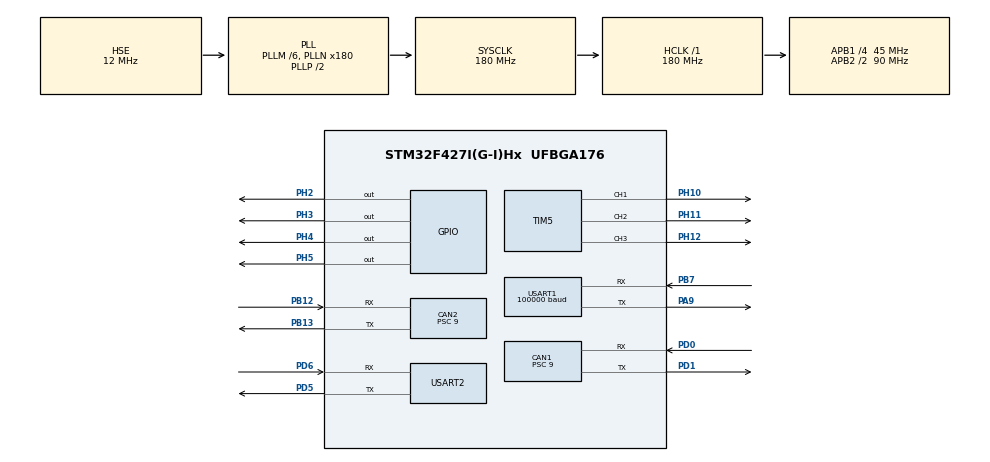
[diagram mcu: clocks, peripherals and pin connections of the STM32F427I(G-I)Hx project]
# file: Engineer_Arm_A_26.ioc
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CAN1.BS1=CAN_BS1_2TQ
CAN1.BS2=CAN_BS2_2TQ
CAN1.CalculateBaudRate=1000000
CAN1.CalculateTimeBit=1000
CAN1.CalculateTimeQuantum=200.0
CAN1.Prescaler=9
CAN2.BS1=CAN_BS1_2TQ
CAN2.BS2=CAN_BS2_2TQ
CAN2.CalculateBaudRate=1000000
CAN2.CalculateTimeBit=1000
CAN2.CalculateTimeQuantum=200.0
CAN2.Prescaler=9
Dma.Request0=USART1_RX
Dma.Request1=USART2_RX
Dma.Request2=USART2_TX
Dma.USART1_RX.0.Direction=DMA_PERIPH_TO_MEMORY
Dma.USART1_RX.0.FIFOMode=DMA_FIFOMODE_DISABLE
Dma.USART1_RX.0.Instance=DMA2_Stream2
Dma.USART1_RX.0.MemDataAlignment=DMA_MDATAALIGN_BYTE
Dma.USART1_RX.0.MemInc=DMA_MINC_ENABLE
Dma.USART1_RX.0.Mode=DMA_NORMAL
Dma.USART1_RX.0.PeriphDataAlignment=DMA_PDATAALIGN_BYTE
Dma.USART1_RX.0.PeriphInc=DMA_PINC_DISABLE
Dma.USART1_RX.0.Priority=DMA_PRIORITY_VERY_HIGH
Dma.USART2_RX.1.Direction=DMA_PERIPH_TO_MEMORY
Dma.USART2_RX.1.FIFOMode=DMA_FIFOMODE_DISABLE
Dma.USART2_RX.1.Instance=DMA1_Stream5
Dma.USART2_RX.1.MemDataAlignment=DMA_MDATAALIGN_BYTE
Dma.USART2_RX.1.MemInc=DMA_MINC_ENABLE
Dma.USART2_RX.1.Mode=DMA_NORMAL
Dma.USART2_RX.1.PeriphDataAlignment=DMA_PDATAALIGN_BYTE
Dma.USART2_RX.1.PeriphInc=DMA_PINC_DISABLE
Dma.USART2_RX.1.Priority=DMA_PRIORITY_LOW
Dma.USART2_TX.2.Direction=DMA_MEMORY_TO_PERIPH
Dma.USART2_TX.2.FIFOMode=DMA_FIFOMODE_DISABLE
Dma.USART2_TX.2.Instance=DMA1_Stream6
Dma.USART2_TX.2.MemDataAlignment=DMA_MDATAALIGN_BYTE
Dma.USART2_TX.2.MemInc=DMA_MINC_ENABLE
Dma.USART2_TX.2.Mode=DMA_NORMAL
Dma.USART2_TX.2.PeriphDataAlignment=DMA_PDATAALIGN_BYTE
Dma.USART2_TX.2.PeriphInc=DMA_PINC_DISABLE
Dma.USART2_TX.2.Priority=DMA_PRIORITY_LOW
FREERTOS.Tasks01=StartTask,0,128,ALL_Init,Default,NULL,Dynamic,NULL,NULL
Mcu.Family=STM32F4
Mcu.Name=STM32F427I(G-I)Hx
Mcu.Package=UFBGA176
NVIC.CAN1_RX0_IRQn=true\:5\:0\:false\:false\:true\:true\:true\:true\:true
NVIC.CAN1_TX_IRQn=true\:5\:0\:false\:false\:true\:true\:true\:true\:true
NVIC.CAN2_RX0_IRQn=true\:5\:0\:false\:false\:true\:true\:true\:true\:true
NVIC.CAN2_TX_IRQn=true\:5\:0\:false\:false\:true\:true\:true\:true\:true
NVIC.DMA1_Stream5_IRQn=true\:5\:0\:false\:false\:true\:true\:false\:true\:true
NVIC.DMA1_Stream6_IRQn=true\:5\:0\:false\:false\:true\:true\:false\:true\:true
NVIC.DMA2_Stream2_IRQn=true\:5\:0\:false\:false\:true\:true\:false\:true\:true
NVIC.PriorityGroup=NVIC_PRIORITYGROUP_4
NVIC.TIM1_UP_TIM10_IRQn=true\:15\:0\:false\:false\:true\:false\:false\:true\:true
NVIC.TimeBase=TIM1_UP_TIM10_IRQn
NVIC.TimeBaseIP=TIM1
NVIC.USART2_IRQn=true\:5\:0\:false\:false\:true\:true\:false\:true\:true
PA13.Mode=Serial_Wire
PA13.Signal=SYS_JTMS-SWDIO
PA14.Mode=Serial_Wire
PA14.Signal=SYS_JTCK-SWCLK
PA9.Mode=Asynchronous
PA9.Signal=USART1_TX
PB12.Mode=CAN_Activate
PB12.Signal=CAN2_RX
PB13.Mode=CAN_Activate
PB13.Signal=CAN2_TX
PB7.Mode=Asynchronous
PB7.Signal=USART1_RX
PD0.Mode=CAN_Activate
PD0.Signal=CAN1_RX
PD1.Mode=CAN_Activate
PD1.Signal=CAN1_TX
PD5.Mode=Asynchronous
PD5.Signal=USART2_TX
PD6.Mode=Asynchronous
PD6.Signal=USART2_RX
PH0/OSC_IN.Mode=HSE-External-Oscillator
PH0/OSC_IN.Signal=RCC_OSC_IN
PH1/OSC_OUT.Mode=HSE-External-Oscillator
PH1/OSC_OUT.Signal=RCC_OSC_OUT
PH10.Signal=S_TIM5_CH1
PH11.Signal=S_TIM5_CH2
PH12.Signal=S_TIM5_CH3
PH2.GPIO_PuPd=GPIO_PULLDOWN
PH2.Signal=GPIO_Output
PH3.GPIO_PuPd=GPIO_PULLDOWN
PH3.Signal=GPIO_Output
PH4.GPIO_PuPd=GPIO_PULLDOWN
PH4.Signal=GPIO_Output
PH5.GPIO_PuPd=GPIO_PULLDOWN
PH5.Signal=GPIO_Output
ProjectManager.HeapSize=0x200
ProjectManager.StackSize=0x400
ProjectManager.TargetToolchain=MDK-ARM V5
RCC.48MHZClocksFreq_Value=90000000
RCC.AHBFreq_Value=180000000
RCC.APB1CLKDivider=RCC_HCLK_DIV4
RCC.APB1Freq_Value=45000000
RCC.APB1TimFreq_Value=90000000
RCC.APB2CLKDivider=RCC_HCLK_DIV2
RCC.APB2Freq_Value=90000000
RCC.APB2TimFreq_Value=180000000
RCC.CortexFreq_Value=180000000
RCC.HCLKFreq_Value=180000000
RCC.HSE_VALUE=12000000
RCC.HSI_VALUE=16000000
RCC.LSE_VALUE=32768
RCC.PLLM=6
RCC.PLLN=180
RCC.PLLSourceVirtual=RCC_PLLSOURCE_HSE
RCC.SYSCLKFreq_VALUE=180000000
RCC.SYSCLKSource=RCC_SYSCLKSOURCE_PLLCLK
RCC.VCOOutputFreq_Value=360000000
SH.S_TIM5_CH1.0=TIM5_CH1,PWM Generation1 CH1
SH.S_TIM5_CH2.0=TIM5_CH2,PWM Generation2 CH2
SH.S_TIM5_CH3.0=TIM5_CH3,PWM Generation3 CH3
TIM5.Channel-PWM\ Generation1\ CH1=TIM_CHANNEL_1
TIM5.Channel-PWM\ Generation2\ CH2=TIM_CHANNEL_2
TIM5.Channel-PWM\ Generation3\ CH3=TIM_CHANNEL_3
USART1.BaudRate=100000
USART1.VirtualMode=VM_ASYNC
USART2.VirtualMode=VM_ASYNC
VP_FREERTOS_VS_CMSIS_V1.Mode=CMSIS_V1
VP_SYS_VS_tim1.Mode=TIM1
VP_TIM5_VS_ClockSourceINT.Mode=Internal
board=custom

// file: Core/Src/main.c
/* USER CODE BEGIN Header */
/**
  ******************************************************************************
  * @file           : main.c
  * @brief          : Main program body
  ******************************************************************************
  * @attention
  *
  * Copyright (c) 2025 STMicroelectronics.
  * All rights reserved.
  *
  * This software is licensed under terms that can be found in the LICENSE file
  * in the root directory of this software component.
  * If no LICENSE file comes with this software, it is provided AS-IS.
  *
  ******************************************************************************
  */
/* USER CODE END Header */
#include "main.h"
#include "cmsis_os.h"
#include "can.h"
#include "dma.h"
#include "tim.h"
#include "usart.h"
#include "gpio.h"

void SystemClock_Config(void);
void MX_FREERTOS_Init(void);

int main(void)
{

  /* MCU Configuration--------------------------------------------------------*/

  /* Reset of all peripherals, Initializes the Flash interface and the Systick. */
  HAL_Init();

  /* Configure the system clock */
  SystemClock_Config();

  /* Initialize all configured peripherals */
  MX_GPIO_Init();
  MX_DMA_Init();
  MX_CAN1_Init();
  MX_CAN2_Init();
  MX_TIM5_Init();
  MX_USART1_UART_Init();
  MX_USART2_UART_Init();

  /* Call init function for freertos objects (in cmsis_os2.c) */
  MX_FREERTOS_Init();

  /* Start scheduler */
  osKernelStart();

  /* We should never get here as control is now taken by the scheduler */

  /* Infinite loop */
  while (1)
  {

  }
}

void SystemClock_Config(void)
{
  RCC_OscInitTypeDef RCC_OscInitStruct = {0};
  RCC_ClkInitTypeDef RCC_ClkInitStruct = {0};

  /** Configure the main internal regulator output voltage
  */
  __HAL_RCC_PWR_CLK_ENABLE();
  __HAL_PWR_VOLTAGESCALING_CONFIG(PWR_REGULATOR_VOLTAGE_SCALE1);

  /** Initializes the RCC Oscillators according to the specified parameters
  * in the RCC_OscInitTypeDef structure.
  */
  RCC_OscInitStruct.OscillatorType = RCC_OSCILLATORTYPE_HSE;
  RCC_OscInitStruct.HSEState = RCC_HSE_ON;
  RCC_OscInitStruct.PLL.PLLState = RCC_PLL_ON;
  RCC_OscInitStruct.PLL.PLLSource = RCC_PLLSOURCE_HSE;
  RCC_OscInitStruct.PLL.PLLM = 6;
  RCC_OscInitStruct.PLL.PLLN = 180;
  RCC_OscInitStruct.PLL.PLLP = RCC_PLLP_DIV2;
  RCC_OscInitStruct.PLL.PLLQ = 4;
  if (HAL_RCC_OscConfig(&RCC_OscInitStruct) != HAL_OK)
  {
    Error_Handler();
  }

  /** Activate the Over-Drive mode
  */
  if (HAL_PWREx_EnableOverDrive() != HAL_OK)
  {
    Error_Handler();
  }

  /** Initializes the CPU, AHB and APB buses clocks
  */
  RCC_ClkInitStruct.ClockType = RCC_CLOCKTYPE_HCLK|RCC_CLOCKTYPE_SYSCLK
                              |RCC_CLOCKTYPE_PCLK1|RCC_CLOCKTYPE_PCLK2;
  RCC_ClkInitStruct.SYSCLKSource = RCC_SYSCLKSOURCE_PLLCLK;
  RCC_ClkInitStruct.AHBCLKDivider = RCC_SYSCLK_DIV1;
  RCC_ClkInitStruct.APB1CLKDivider = RCC_HCLK_DIV4;
  RCC_ClkInitStruct.APB2CLKDivider = RCC_HCLK_DIV2;

  if (HAL_RCC_ClockConfig(&RCC_ClkInitStruct, FLASH_LATENCY_5) != HAL_OK)
  {
    Error_Handler();
  }
}

void HAL_TIM_PeriodElapsedCallback(TIM_HandleTypeDef *htim)
{
  if (htim->Instance == TIM1)
  {
    HAL_IncTick();
  }
}

void Error_Handler(void)
{
  __disable_irq();
  while (1)
  {
  }
}

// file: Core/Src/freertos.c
/* USER CODE BEGIN Header */
/**
  ******************************************************************************
  * File Name          : freertos.c
  * Description        : Code for freertos applications
  ******************************************************************************
  * @attention
  *
  * Copyright (c) 2023 STMicroelectronics.
  * All rights reserved.
  *
  * This software is licensed under terms that can be found in the LICENSE file
  * in the root directory of this software component.
  * If no LICENSE file comes with this software, it is provided AS-IS.
  *
  ******************************************************************************
  */
/* USER CODE END Header */

#include "FreeRTOS.h"
#include "task.h"
#include "main.h"
#include "cmsis_os.h"

/* USER CODE BEGIN Includes */
#include "pid.h"
#include "BSP_Can.h"
#include "BSP_Usart.h"
#include "DT7.h"
#include "Task_LED.h"
#include "Arm_Control.h"
/* USER CODE END Includes */

/* USER CODE BEGIN Variables */

/***********Queues************/
QueueHandle_t CAN1_ReceiveHandle;
QueueHandle_t CAN2_ReceiveHandle;
QueueHandle_t CAN_SendHandle;
/***********Tasks*************/
osThreadId Task_Can1MsgRecHandle;
osThreadId Task_Can2MsgRecHandle;
osThreadId Task_CanSendHandle;
osThreadId Move_DataHandle;
osThreadId led_RGB_flow_handle;
osThreadId Task_VofaAssistHandle;
osThreadId Arm_Control_Handle;
/* USER CODE END Variables */
osThreadId StartTaskHandle;

/* USER CODE BEGIN FunctionPrototypes */
extern void Can1Receives(void const *argument);
extern void Can2Receives(void const *argument);
extern void AllCanSend(void const *argument);
extern void SPI2Receives(void const *argument);
extern void Show_Data(void const *argument);
extern void Off_Line_Check(void const *argument);
extern void Vofa_Assist(void const *argument);
extern void Arm_Task(void const *argument);

/* USER CODE END FunctionPrototypes */

void ALL_Init(void const * argument);

void MX_FREERTOS_Init(void); /* (MISRA C 2004 rule 8.1) */

/* GetIdleTaskMemory prototype (linked to static allocation support) */
void vApplicationGetIdleTaskMemory( StaticTask_t **ppxIdleTaskTCBBuffer, StackType_t **ppxIdleTaskStackBuffer, uint32_t *pulIdleTaskStackSize );

/* USER CODE BEGIN GET_IDLE_TASK_MEMORY */
static StaticTask_t xIdleTaskTCBBuffer;
static StackType_t xIdleStack[configMINIMAL_STACK_SIZE];

void vApplicationGetIdleTaskMemory( StaticTask_t **ppxIdleTaskTCBBuffer, StackType_t **ppxIdleTaskStackBuffer, uint32_t *pulIdleTaskStackSize )
{
  *ppxIdleTaskTCBBuffer = &xIdleTaskTCBBuffer;
  *ppxIdleTaskStackBuffer = &xIdleStack[0];
  *pulIdleTaskStackSize = configMINIMAL_STACK_SIZE;
  /* place for user code */
}
/* USER CODE END GET_IDLE_TASK_MEMORY */

void MX_FREERTOS_Init(void) {

  /* USER CODE BEGIN RTOS_QUEUES */
  /* add queues, ... */
	 /* definition and creation of CAN1_Receive */
    CAN1_ReceiveHandle = xQueueCreate(32, sizeof(Can_Export_Data_t));

    /* definition and creation of CAN2_Receive */
    CAN2_ReceiveHandle = xQueueCreate(64, sizeof(Can_Export_Data_t));

    /* definition and creation of CAN_Send */
    CAN_SendHandle = xQueueCreate(32, sizeof(Can_Send_Data_t));
  /* USER CODE END RTOS_QUEUES */

  /* Create the thread(s) */
  /* definition and creation of StartTask */
  osThreadDef(StartTask, ALL_Init, osPriorityNormal, 0, 128);
  StartTaskHandle = osThreadCreate(osThread(StartTask), NULL);

  /* USER CODE BEGIN RTOS_THREADS */
  /* add threads, ... */
   /* definition and creation of Can1ReceiveTask */
    osThreadDef(Can1_ReceiveTask, Can1Receives, osPriorityRealtime, 0, 128);
    Task_Can1MsgRecHandle = osThreadCreate(osThread(Can1_ReceiveTask), NULL);

    /* definition and creation of Can1ReceiveTask */
    osThreadDef(Can2_ReceiveTask, Can2Receives, osPriorityRealtime, 4, 256);
    Task_Can2MsgRecHandle = osThreadCreate(osThread(Can2_ReceiveTask), NULL);

    /* definition and creation of CanSendTask */
    osThreadDef(Can_SendTask, AllCanSend, osPriorityRealtime, 0, 256);
    Task_CanSendHandle = osThreadCreate(osThread(Can_SendTask), NULL);

	/* definition and creation of LED_RGB_Flow_Task */
    osThreadDef(led, led_RGB_flow_task, osPriorityAboveNormal, 0, 128);
    led_RGB_flow_handle = osThreadCreate(osThread(led), NULL);

	/* definition and creation of vofa_Task */
	  osThreadDef(VofaAssistTask, Vofa_Assist, osPriorityRealtime, 0, 128);
    Task_VofaAssistHandle = osThreadCreate(osThread(VofaAssistTask), NULL);

	/* definition and creation of vofa_Task */
		osThreadDef(Arm_Control_Task, Arm_Task, osPriorityRealtime, 0, 256);
	  Arm_Control_Handle = osThreadCreate(osThread(Arm_Control_Task), NULL);

  /* USER CODE END RTOS_THREADS */

}

void ALL_Init(void const * argument)
{
  /* USER CODE BEGIN ALL_Init */
  /* Infinite loop */
	for(;;)
	{
		taskENTER_CRITICAL();                 //?????????
	    /* CAN?��????? */
        Can_Fun.CAN_IT_Init(&hcan1, Can1_Type);
        Can_Fun.CAN_IT_Init(&hcan2, Can2_Type);
		  /*��е�۳�ʼ��*/
		   Arm_Motor_Init();
		  /*DT7ң������ʼ��*/
		   DT7_Init();

		vTaskDelete(StartTaskHandle);         //ɾ����������
    taskEXIT_CRITICAL();                  //�˳��ٽ���
	}
  /* USER CODE END ALL_Init */
}
